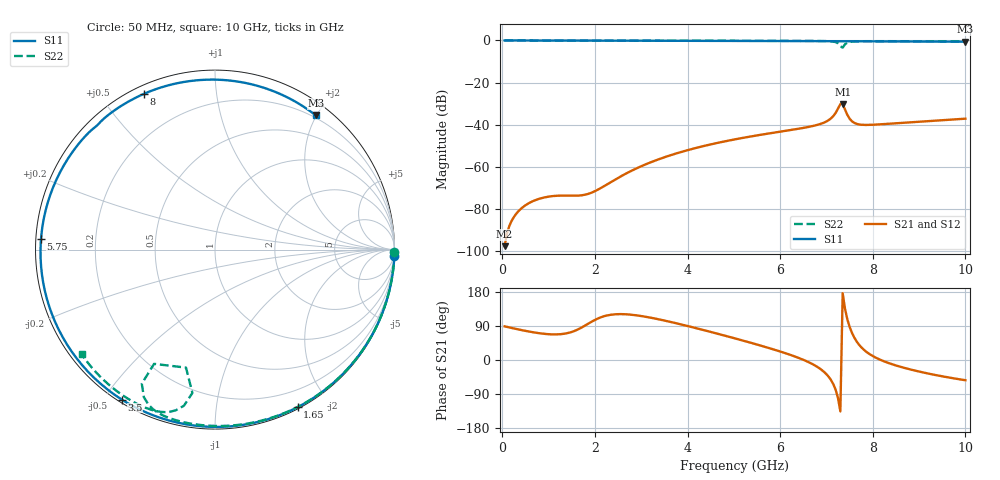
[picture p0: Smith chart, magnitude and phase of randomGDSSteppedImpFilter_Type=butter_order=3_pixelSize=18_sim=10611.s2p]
! freq	dB(S11)	phase(S11)	dB(S12)	phase(S12)
!  dB(S21)	phase(S21)	dB(S22)	phase(S22)
!S-par simulation data
#  GHz  S  DB  R 50
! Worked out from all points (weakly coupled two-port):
!   200 points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, 50 MHz to 10 GHz, reference 50 ohm
!   highest |S21| = -30.20 dB at 7.35 GHz (marker M1); lowest = -97.6 dB at 50 MHz (marker M2)
!   lowest |S11| = -0.6 dB at 10 GHz (marker M3), VSWR 29.74, Z = 8.39 + j99.6 ohm
!   |S11| at or under -10 dB: nowhere
!   |S22| runs from -3.4 to 0.0 dB; largest |S21 - S12| = 0
!   S11 on the Smith chart (normalised r, x): 50 MHz: 0, -58; 1.65 GHz: 0.02, -1.65; 3.5 GHz: 0.01, -0.56; 5.75 GHz: 0.01, +0.03; 8 GHz: 0.03, +0.64; 10 GHz: 0.17, +1.99
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0.05  -0.00 -2.0  -97.60 88.9  -97.60 88.9  -0.00 -0.8
0.4  -0.02 -15.6  -79.92 79.3  -79.92 79.3  -0.01 -6.6
0.8  -0.04 -31.0  -75.10 70.6  -75.10 70.6  -0.02 -13.2
1.65  -0.08 -62.3  -73.59 81.6  -73.59 81.6  -0.03 -26.9
1.75  -0.08 -65.8  -73.34 88.2  -73.34 88.2  -0.04 -28.5
2.55  -0.11 -92.7  -64.58 121.1  -64.58 121.1  -0.05 -41.2
3.4  -0.14 -118.9  -56.19 106.8  -56.19 106.8  -0.07 -54.3
3.5  -0.14 -121.9  -55.42 104.2  -55.42 104.2  -0.07 -55.8
4.3  -0.18 -144.6  -50.35 80.5  -50.35 80.5  -0.10 -67.7
5.05  -0.21 -165.0  -46.81 56.2  -46.81 56.2  -0.12 -78.6
5.75  -0.25 176.4  -44.14 31.9  -44.14 31.9  -0.15 -88.6
6.7  -0.32 150.9  -40.62 -10.9  -40.62 -10.9  -0.22 -102.6
7.05  -0.34 141.2  -37.77 -44.7  -37.77 -44.7  -0.35 -109.8
7.25  -0.38 135.6  -32.32 -100.8  -32.32 -100.8  -1.40 -118.6
7.3  -0.40 134.3  -30.25 -135.7  -30.25 -135.7  -2.84 -118.1
7.35  -0.41 133.1  -30.20 176.3  -30.20 176.3  -3.39 -103.8
7.45  -0.38 130.3  -35.25 107.6  -35.25 107.6  -1.04 -101.3
7.6  -0.38 126.0  -39.09 59.4  -39.09 59.4  -0.46 -107.3
8  -0.41 114.4  -39.99 10.4  -39.99 10.4  -0.33 -115.2
8.35  -0.44 104.1  -39.52 -8.4  -39.52 -8.4  -0.34 -120.3
9.15  -0.50 79.8  -38.36 -34.5  -38.36 -34.5  -0.40 -130.9
10  -0.58 53.1  -37.11 -53.4  -37.11 -53.4  -0.49 -141.8
